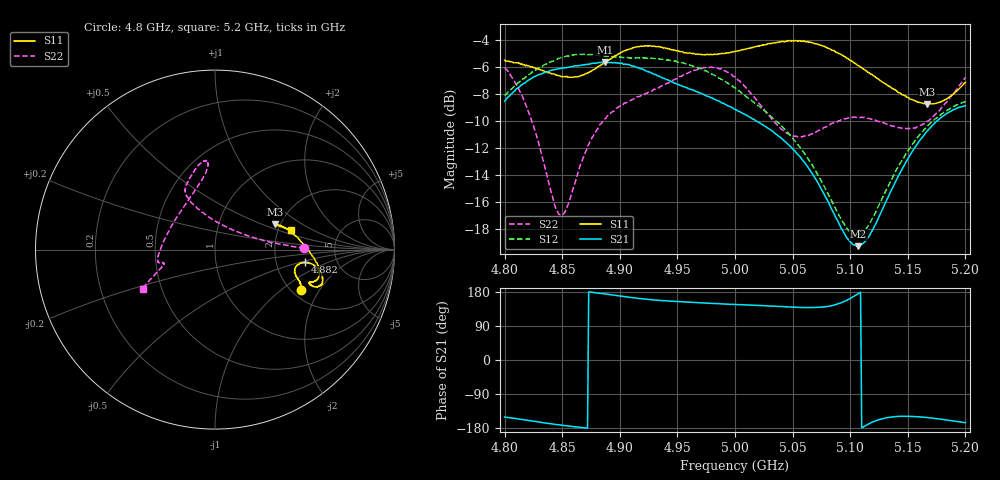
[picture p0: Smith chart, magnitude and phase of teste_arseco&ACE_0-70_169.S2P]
! Network Analyzer HP8722D
! Hewlett-Packard
! Data name: Linha & Wilkinson
! Saver's name: Rodrigo Anjos
! Comments: Teste da utilização de aquisição
! continua pelo VNA HP8722D
! Time and date: 8/5/2025 14:10
!  Frequency  S11  S21  S12  S22
# HZ  S  MA R 50
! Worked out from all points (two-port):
!   401 points, 4.8 GHz to 5.2 GHz, reference 50 ohm
!   highest |S21| = -5.65 dB at 4.887 GHz (marker M1); lowest = -19.3 dB at 5.107 GHz (marker M2)
!   |S21| within 3 dB of the highest: start of sweep to 4.988 GHz
!   lowest |S11| = -8.8 dB at 5.167 GHz (marker M3), VSWR 2.15, Z = 94.1 + j30.5 ohm
!   |S11| at or under -10 dB: nowhere
!   |S22| runs from -17.0 to -6.0 dB; largest |S21 - S12| = 1.1
!   S11 on the Smith chart (normalised r, x): 4.8 GHz: 2.23, -1.41; 4.882 GHz: 2.92, -0.56; 5.2 GHz: 2.35, +0.64
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4.8e9  0.5303 -25.3  0.3734 -150.6  0.3915 8.6  0.4967 0.8
4.811e9  0.5175 -22.5  0.417 -155.1  0.4343 7.1  0.4239 2.6
4.821e9  0.5054 -20.7  0.4478 -159.8  0.4688 5.4  0.3382 6.2
4.847e9  0.4646 -16.1  0.4942 -171.0  0.538 1.3  0.1421 55.3
4.854e9  0.4618 -14.5  0.4977 -173.6  0.5488 0.2  0.151 82.8
4.867e9  0.4655 -10.9  0.508 -178.4  0.5555 -1.5  0.2232 109.8
4.882e9  0.505 -8.1  0.5195 176.3  0.5532 -2.8  0.3025 116.9
4.887e9  0.5196 -7.9  0.5217 174.2  0.5497 -2.7  0.3213 117.6
4.913e9  0.5907 -11.6  0.5027 163.8  0.5404 -2.2  0.3819 115.4
4.934e9  0.595 -16.4  0.4622 157.4  0.5367 -3.0  0.4185 109.8
4.974e9  0.5546 -19.4  0.3932 150.3  0.4837 -6.5  0.4969 97.1
5e9  0.5721 -20.3  0.3476 146.5  0.4189 -6.5  0.4593 95.2
5.043e9  0.6195 -18.4  0.2654 140.7  0.2944 1.6  0.2877 130.5
5.067e9  0.6143 -13.9  0.2012 138.5  0.2166 8.8  0.2826 164.9
5.096e9  0.5435 -3.8  0.1182 156.0  0.1281 36.3  0.3209 -172.1
5.107e9  0.5049 1.6  0.1083 175.1  0.1187 57.9  0.3247 -168.4
5.118e9  0.4702 7.1  0.1215 -165.7  0.1341 78.4  0.3202 -166.8
5.134e9  0.4243 15.2  0.1685 -151.2  0.1845 94.4  0.3041 -166.3
5.154e9  0.3784 21.6  0.2433 -148.9  0.2591 100.0  0.2965 -164.2
5.167e9  0.3642 22.7  0.2893 -152.1  0.3017 100.7  0.315 -161.5
5.183e9  0.379 20.4  0.3339 -158.0  0.3433 100.7  0.3675 -156.9
5.2e9  0.4387 14.6  0.3591 -165.5  0.3727 101.2  0.4572 -151.5
